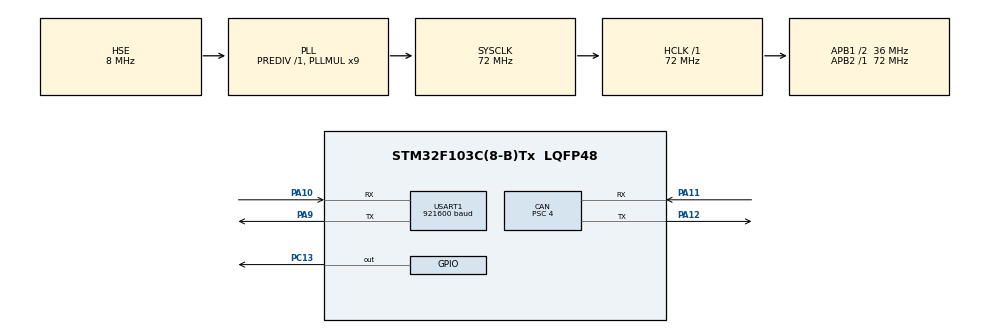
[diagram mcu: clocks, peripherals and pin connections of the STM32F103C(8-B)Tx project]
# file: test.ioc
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CAN.BS1=CAN_BS1_6TQ
CAN.BS2=CAN_BS2_2TQ
CAN.CalculateBaudRate=1000000
DMA.Request0=USART1_TX
DMA.RequestsNb=1
DMA1.Channel4.Direction=DMA_MEMORY_TO_PERIPH
DMA1.Channel4.Instance=DMA1_Channel4
DMA1.Channel4.MemDataAlignment=DMA_MDATAALIGN_BYTE
DMA1.Channel4.MemInc=DMA_MINC_ENABLE
DMA1.Channel4.PeriphDataAlignment=DMA_PDATAALIGN_BYTE
DMA1.Channel4.PeriphInc=DMA_PINC_DISABLE
DMA1.Channel4.Priority=DMA_PRIORITY_LOW
CAN.CalculateTimeBit=1000
CAN.CalculateTimeQuantum=111.11111111111111
CAN.Mode=CAN_MODE_LOOPBACK
CAN.Prescaler=4
CAN.SJW=CAN_SJW_1TQ
FREERTOS.Tasks01=LedTask,24,128,StartLedTask,Default,NULL,Dynamic,NULL,NULL;CommTask,41,256,StartCommTask,Default,NULL,Dynamic,NULL,NULL
FREERTOS.configTOTAL_HEAP_SIZE=8192
Mcu.Family=STM32F1
Mcu.Name=STM32F103C(8-B)Tx
Mcu.Package=LQFP48
NVIC.DMA1_Channel4_IRQn=true\:0\:0\:false\:false\:true\:true\:true\:true
NVIC.USART1_IRQn=true\:0\:0\:false\:false\:true\:true\:true\:true
NVIC.USB_LP_CAN1_RX0_IRQn=true\:1\:0\:false\:false\:true\:true\:true\:true
NVIC.PriorityGroup=NVIC_PRIORITYGROUP_4
PA10.Mode=Asynchronous
PA10.Signal=USART1_RX
PA11.Mode=CAN_Activate
PA11.Signal=CAN_RX
PA12.Mode=CAN_Activate
PA12.Signal=CAN_TX
PA13.Mode=Serial_Wire
PA13.Signal=SYS_JTMS-SWDIO
PA14.Mode=Serial_Wire
PA14.Signal=SYS_JTCK-SWCLK
PA9.Mode=Asynchronous
PA9.Signal=USART1_TX
PC13-TAMPER-RTC.GPIO_ModeDefaultOutputPP=GPIO_MODE_OUTPUT_PP
PC13-TAMPER-RTC.GPIO_PuPd=GPIO_PULLUP
PC13-TAMPER-RTC.PinState=GPIO_PIN_SET
PC13-TAMPER-RTC.Signal=GPIO_Output
PD0-OSC_IN.Mode=HSE-External-Oscillator
PD0-OSC_IN.Signal=RCC_OSC_IN
PD1-OSC_OUT.Mode=HSE-External-Oscillator
PD1-OSC_OUT.Signal=RCC_OSC_OUT
ProjectManager.HeapSize=0x200
ProjectManager.StackSize=0x400
ProjectManager.TargetToolchain=MDK-ARM V5.32
RCC.AHBFreq_Value=72000000
RCC.APB1CLKDivider=RCC_HCLK_DIV2
RCC.APB1Freq_Value=36000000
RCC.APB1TimFreq_Value=72000000
RCC.APB2Freq_Value=72000000
RCC.APB2TimFreq_Value=72000000
RCC.HCLKFreq_Value=72000000
RCC.PLLMUL=RCC_PLL_MUL9
RCC.PLLSourceVirtual=RCC_PLLSOURCE_HSE
RCC.SYSCLKFreq_VALUE=72000000
RCC.SYSCLKSource=RCC_SYSCLKSOURCE_PLLCLK
RCC.USBFreq_Value=72000000
USART1.BaudRate=921600
USART1.VirtualMode=VM_ASYNC
VP_FREERTOS_VS_CMSIS_V2.Mode=CMSIS_V2
board=custom

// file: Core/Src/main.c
/* USER CODE BEGIN Header */
/**
  ******************************************************************************
  * @file           : main.c
  * @brief          : Main program body
  ******************************************************************************
  * @attention
  *
  * Copyright (c) 2026 STMicroelectronics.
  * All rights reserved.
  *
  * This software is licensed under terms that can be found in the LICENSE file
  * in the root directory of this software component.
  * If no LICENSE file comes with this software, it is provided AS-IS.
  *
  ******************************************************************************
  */
/* USER CODE END Header */
#include "main.h"
#include "cmsis_os.h"
#include "can.h"
#include "usart.h"
#include "gpio.h"

void SystemClock_Config(void);
void MX_FREERTOS_Init(void);

int main(void)
{

  /* MCU Configuration--------------------------------------------------------*/

  /* Reset of all peripherals, Initializes the Flash interface and the Systick. */
  HAL_Init();

  /* Configure the system clock */
  SystemClock_Config();

  /* Initialize all configured peripherals */
  MX_GPIO_Init();
  MX_CAN_Init();
  MX_USART1_UART_Init();

  /* Init scheduler */
  osKernelInitialize();  /* Call init function for freertos objects (in cmsis_os2.c) */
  MX_FREERTOS_Init();

  /* Start scheduler */
  osKernelStart();

  /* We should never get here as control is now taken by the scheduler */

  /* Infinite loop */
  while (1)
  {

  }
}

void SystemClock_Config(void)
{
  RCC_OscInitTypeDef RCC_OscInitStruct = {0};
  RCC_ClkInitTypeDef RCC_ClkInitStruct = {0};

  /** Initializes the RCC Oscillators according to the specified parameters
  * in the RCC_OscInitTypeDef structure.
  */
  RCC_OscInitStruct.OscillatorType = RCC_OSCILLATORTYPE_HSE;
  RCC_OscInitStruct.HSEState = RCC_HSE_ON;
  RCC_OscInitStruct.HSEPredivValue = RCC_HSE_PREDIV_DIV1;
  RCC_OscInitStruct.HSIState = RCC_HSI_ON;
  RCC_OscInitStruct.PLL.PLLState = RCC_PLL_ON;
  RCC_OscInitStruct.PLL.PLLSource = RCC_PLLSOURCE_HSE;
  RCC_OscInitStruct.PLL.PLLMUL = RCC_PLL_MUL9;
  if (HAL_RCC_OscConfig(&RCC_OscInitStruct) != HAL_OK)
  {
    Error_Handler();
  }

  /** Initializes the CPU, AHB and APB buses clocks
  */
  RCC_ClkInitStruct.ClockType = RCC_CLOCKTYPE_HCLK|RCC_CLOCKTYPE_SYSCLK
                              |RCC_CLOCKTYPE_PCLK1|RCC_CLOCKTYPE_PCLK2;
  RCC_ClkInitStruct.SYSCLKSource = RCC_SYSCLKSOURCE_PLLCLK;
  RCC_ClkInitStruct.AHBCLKDivider = RCC_SYSCLK_DIV1;
  RCC_ClkInitStruct.APB1CLKDivider = RCC_HCLK_DIV2;
  RCC_ClkInitStruct.APB2CLKDivider = RCC_HCLK_DIV1;

  if (HAL_RCC_ClockConfig(&RCC_ClkInitStruct, FLASH_LATENCY_2) != HAL_OK)
  {
    Error_Handler();
  }
}

void Error_Handler(void)
{
  __disable_irq();
  while (1)
  {
  }
}

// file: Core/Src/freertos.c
/* USER CODE BEGIN Header */
/**
  ******************************************************************************
  * File Name          : freertos.c
  * Description        : Code for freertos applications
  ******************************************************************************
  * @attention
  *
  * Copyright (c) 2026 STMicroelectronics.
  * All rights reserved.
  *
  * This software is licensed under terms that can be found in the LICENSE file
  * in the root directory of this software component.
  * If no LICENSE file comes with this software, it is provided AS-IS.
  *
  ******************************************************************************
  */
/* USER CODE END Header */

#include "FreeRTOS.h"
#include "task.h"
#include "main.h"
#include "cmsis_os.h"

/* USER CODE BEGIN Includes */
#include "usart.h"
#include "can.h"
#include <stdio.h>
#include <string.h>
/* USER CODE END Includes */

/* USER CODE BEGIN Variables */
static uint8_t uart1_tx_busy;
static char uart1_tx_line[96];

CAN_TxHeaderTypeDef can_tx_header;
CAN_RxHeaderTypeDef can_rx_header;
static uint8_t can_tx_data[8];
static uint8_t can_rx_data[8];
static uint32_t can_tx_mailbox;
volatile uint32_t can_tx_count;
volatile uint32_t can_rx_count;
/* USER CODE END Variables */
/* Definitions for LedTask */
osThreadId_t LedTaskHandle;
const osThreadAttr_t LedTask_attributes = {
  .name = "LedTask",
  .stack_size = 128 * 4,
  .priority = (osPriority_t) osPriorityNormal,
};
/* Definitions for CommTask */
osThreadId_t CommTaskHandle;
const osThreadAttr_t CommTask_attributes = {
  .name = "CommTask",
  .stack_size = 256 * 4,
  .priority = (osPriority_t) osPriorityHigh1,
};

void StartLedTask(void *argument);
void StartCommTask(void *argument);

void MX_FREERTOS_Init(void); /* (MISRA C 2004 rule 8.1) */

void MX_FREERTOS_Init(void) {

  /* Create the thread(s) */
  /* creation of LedTask */
  LedTaskHandle = osThreadNew(StartLedTask, NULL, &LedTask_attributes);

  /* creation of CommTask */
  CommTaskHandle = osThreadNew(StartCommTask, NULL, &CommTask_attributes);

}

void StartLedTask(void *argument)
{
  /* USER CODE BEGIN StartLedTask */
  /* Infinite loop */
  for(;;)
  {
    HAL_GPIO_TogglePin(GPIOC, GPIO_PIN_13);
    osDelay(500);
  }
  /* USER CODE END StartLedTask */
}

void StartCommTask(void *argument)
{
  /* USER CODE BEGIN StartCommTask */
  can_tx_header.StdId = 0x123U;
  can_tx_header.ExtId = 0U;
  can_tx_header.RTR = CAN_RTR_DATA;
  can_tx_header.IDE = CAN_ID_STD;
  can_tx_header.DLC = 8U;
  can_tx_header.TransmitGlobalTime = DISABLE;

  /* Infinite loop */
  for(;;)
  {
    can_tx_count++;
    can_tx_data[0] = (uint8_t)(can_tx_count >> 8);
    can_tx_data[1] = (uint8_t)(can_tx_count & 0xFFU);
    can_tx_data[2] = 0xAAU;
    can_tx_data[3] = 0x55U;
    can_tx_data[4] = 0x11U;
    can_tx_data[5] = 0x22U;
    can_tx_data[6] = 0x33U;
    can_tx_data[7] = 0x44U;
    if (HAL_CAN_AddTxMessage(&hcan, &can_tx_header, can_tx_data, &can_tx_mailbox) != HAL_OK)
    {
      can_tx_count--;
    }

    if (uart1_tx_busy == 0U)
    {
      int uart1_line_len;
      uart1_tx_busy = 1U;
      uart1_line_len = snprintf(uart1_tx_line, sizeof(uart1_tx_line),
                                "CAN TX #%lu RX #%lu d=[%02X %02X %02X %02X %02X %02X %02X %02X]\r\n",
                                (unsigned long)can_tx_count, (unsigned long)can_rx_count,
                                (unsigned int)can_rx_data[0], (unsigned int)can_rx_data[1],
                                (unsigned int)can_rx_data[2], (unsigned int)can_rx_data[3],
                                (unsigned int)can_rx_data[4], (unsigned int)can_rx_data[5],
                                (unsigned int)can_rx_data[6], (unsigned int)can_rx_data[7]);
      if (HAL_UART_Transmit_DMA(&huart1, (uint8_t *)uart1_tx_line,
                                (uint16_t)uart1_line_len) != HAL_OK)
      {
        uart1_tx_busy = 0U;
      }
    }

    osDelay(500);
  }
  /* USER CODE END StartCommTask */
}

/* USER CODE BEGIN Application */
void HAL_UART_TxCpltCallback(UART_HandleTypeDef *huart)
{
  if (huart == &huart1)
  {
    uart1_tx_busy = 0U;
  }
}

void HAL_CAN_RxFifo0MsgPendingCallback(CAN_HandleTypeDef *hcan)
{
  if (hcan->Instance == CAN1)
  {
    if (HAL_CAN_GetRxMessage(hcan, CAN_RX_FIFO0, &can_rx_header, can_rx_data) == HAL_OK)
    {
      can_rx_count++;
    }
  }
}
/* USER CODE END Application */
